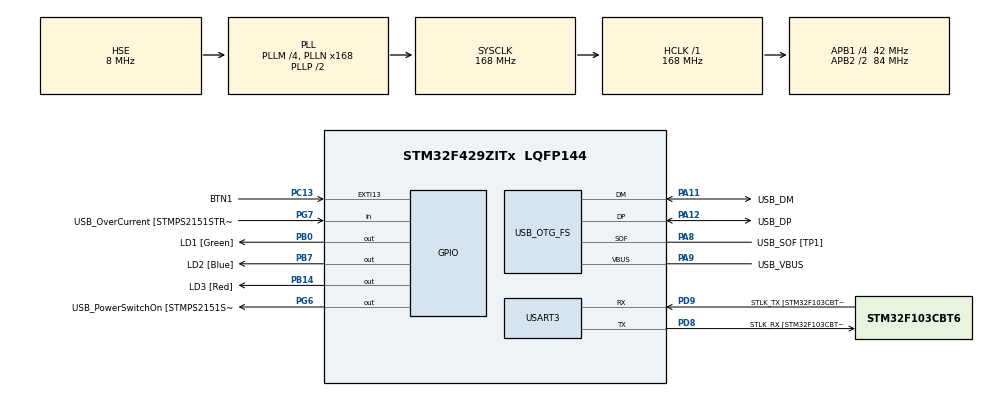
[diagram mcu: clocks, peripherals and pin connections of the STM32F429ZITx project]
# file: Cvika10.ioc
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Mcu.Family=STM32F4
Mcu.Name=STM32F429ZITx
Mcu.Package=LQFP144
NVIC.OTG_FS_IRQn=true\:0\:0\:false\:false\:true\:false\:true\:true
NVIC.PriorityGroup=NVIC_PRIORITYGROUP_4
PA1.GPIO_Label=RMII_REF_CLK [LAN8742A-CZ-TR_REFCLK0]
PA1.Signal=ETH_REF_CLK
PA10.GPIO_Label=USB_ID
PA10.Signal=USB_OTG_FS_ID
PA11.GPIO_Label=USB_DM
PA11.Mode=Device_Only
PA11.Signal=USB_OTG_FS_DM
PA12.GPIO_Label=USB_DP
PA12.Mode=Device_Only
PA12.Signal=USB_OTG_FS_DP
PA13.GPIO_Label=TMS
PA13.Mode=Serial_Wire
PA13.Signal=SYS_JTMS-SWDIO
PA14.GPIO_Label=TCK
PA14.Mode=Serial_Wire
PA14.Signal=SYS_JTCK-SWCLK
PA2.GPIO_Label=RMII_MDIO [LAN8742A-CZ-TR_MDIO]
PA2.Signal=ETH_MDIO
PA7.GPIO_Label=RMII_CRS_DV [LAN8742A-CZ-TR_CRS_DV]
PA7.Signal=ETH_CRS_DV
PA8.GPIO_Label=USB_SOF [TP1]
PA8.Mode=Activate_SOF_FS
PA8.Signal=USB_OTG_FS_SOF
PA9.GPIO_Label=USB_VBUS
PA9.Mode=Activate_VBUS
PA9.Signal=USB_OTG_FS_VBUS
PB0.GPIO_Label=LD1 [Green]
PB0.Signal=GPIO_Output
PB13.GPIO_Label=RMII_TXD1 [LAN8742A-CZ-TR_TXD1]
PB13.Signal=ETH_TXD1
PB14.GPIO_Label=LD3 [Red]
PB14.Signal=GPIO_Output
PB7.GPIO_Label=LD2 [Blue]
PB7.Signal=GPIO_Output
PC1.GPIO_Label=RMII_MDC [LAN8742A-CZ-TR_MDC]
PC1.Signal=ETH_MDC
PC13.GPIO_Label=BTN1
PC13.Signal=GPXTI13
PC14/OSC32_IN.Mode=LSE-External-Oscillator
PC14/OSC32_IN.Signal=RCC_OSC32_IN
PC15/OSC32_OUT.Mode=LSE-External-Oscillator
PC15/OSC32_OUT.Signal=RCC_OSC32_OUT
PC4.GPIO_Label=RMII_RXD0 [LAN8742A-CZ-TR_RXD0]
PC4.Signal=ETH_RXD0
PC5.GPIO_Label=RMII_RXD1 [LAN8742A-CZ-TR_RXD1]
PC5.Signal=ETH_RXD1
PD8.GPIO_Label=STLK_RX [STM32F103CBT6_PA3]
PD8.Mode=Asynchronous
PD8.Signal=USART3_TX
PD9.GPIO_Label=STLK_TX [STM32F103CBT6_PA2]
PD9.Mode=Asynchronous
PD9.Signal=USART3_RX
PG11.GPIO_Label=RMII_TX_EN [LAN8742A-CZ-TR_TXEN]
PG11.Signal=ETH_TX_EN
PG13.GPIO_Label=RMII_TXD0 [LAN8742A-CZ-TR_TXD0]
PG13.Signal=ETH_TXD0
PG6.GPIO_Label=USB_PowerSwitchOn [STMPS2151STR_EN]
PG6.Signal=GPIO_Output
PG7.GPIO_Label=USB_OverCurrent [STMPS2151STR_FAULT]
PG7.Signal=GPIO_Input
PH0/OSC_IN.GPIO_Label=MCO [STM32F103CBT6_PA8]
PH0/OSC_IN.Mode=HSE-External-Clock-Source
PH0/OSC_IN.Signal=RCC_OSC_IN
PH1/OSC_OUT.Mode=HSE-External-Clock-Source
PH1/OSC_OUT.Signal=RCC_OSC_OUT
ProjectManager.HeapSize=0x200
ProjectManager.StackSize=0x400
ProjectManager.TargetToolchain=STM32CubeIDE
RCC.48MHZClocksFreq_Value=48000000
RCC.AHBFreq_Value=168000000
RCC.APB1CLKDivider=RCC_HCLK_DIV4
RCC.APB1Freq_Value=42000000
RCC.APB1TimFreq_Value=84000000
RCC.APB2CLKDivider=RCC_HCLK_DIV2
RCC.APB2Freq_Value=84000000
RCC.APB2TimCLKDivider=2
RCC.APB2TimFreq_Value=168000000
RCC.CortexFreq_Value=168000000
RCC.HCLKFreq_Value=168000000
RCC.HSE_VALUE=8000000
RCC.HSI_VALUE=16000000
RCC.PLLM=4
RCC.PLLMUL=RCC_PLL_MUL9
RCC.PLLN=168
RCC.PLLQ=7
RCC.PRESCALERUSB=RCC_USBCLKSOURCE_PLL_DIV1_5
RCC.SYSCLKFreq_VALUE=168000000
RCC.SYSCLKSource=RCC_SYSCLKSOURCE_PLLCLK
RCC.SYSCLKSourceVirtual=RCC_SYSCLKSOURCE_PLLCLK
RCC.USBFreq_Value=48000000
RCC.VCOOutputFreq_Value=336000000
USART3.VirtualMode=VM_ASYNC
USB_DEVICE.CLASS_NAME_FS=HID
USB_DEVICE.VirtualMode-HID_FS=Hid
USB_DEVICE.VirtualModeFS=Hid_FS
USB_OTG_FS.VirtualMode=Device_Only
VP_USB_DEVICE_VS_USB_DEVICE_HID_FS.Mode=HID_FS
board=NUCLEO-F429ZI

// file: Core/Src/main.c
/* USER CODE BEGIN Header */
/**
  ******************************************************************************
  * @file           : main.c
  * @brief          : Main program body
  ******************************************************************************
  * @attention
  *
  * Copyright (c) 2024 STMicroelectronics.
  * All rights reserved.
  *
  * This software is licensed under terms that can be found in the LICENSE file
  * in the root directory of this software component.
  * If no LICENSE file comes with this software, it is provided AS-IS.
  *
  ******************************************************************************
  */
/* USER CODE END Header */
#include "main.h"
#include "usb_device.h"

/* USER CODE BEGIN Includes */
#include "usbd_hid.h"
#include <math.h>
/* USER CODE END Includes */

/* USER CODE BEGIN PD */
#define BTN_PRESSED 1
#define BTN_RELEASED 0
/* USER CODE END PD */

UART_HandleTypeDef huart3;

/* USER CODE BEGIN PV */
extern USBD_HandleTypeDef hUsbDeviceFS;
/* USER CODE END PV */

void SystemClock_Config(void);
static void MX_GPIO_Init(void);
static void MX_USART3_UART_Init(void);

/* USER CODE BEGIN 0 */
void step(int x,  int y, uint8_t btn)
{
	uint8_t buff[4];
	buff[0] = 0x00 | btn; // press the left button
	buff[1] = (int8_t)(x); // shift X +10
	buff[2] = (int8_t)(y); // shift Y -3
	buff[3] = 0; // no scroll
	USBD_HID_SendReport(&hUsbDeviceFS, buff, sizeof(buff));
	HAL_Delay(USBD_HID_GetPollingInterval(&hUsbDeviceFS));

}

void draw_circle(float radius, int px, int py){
	int x =0, y=0;

	step(px,py,0);

	for(int i=0;i<=360;i++){
		x=round(radius*cos(i*(M_PI/180)));
		y=round(radius*sin(i*(M_PI/180)));
		step((int)x, (int)y, 1);
	}
	step(0,0,0);
}

void half_draw_circle(float radius, int px, int py){
	int x =0, y=0;

	step(px,py,0);

	for(int i=-270;i<=-90;i++){
		x=round(radius*cos(i*(M_PI/180)));
		y=round(radius*sin(i*(M_PI/180)));
		step((int)x, (int)y, 1);
	}
	step(0,0,0);
}

/* USER CODE END 0 */

int main(void)
{

  /* MCU Configuration--------------------------------------------------------*/

  /* Reset of all peripherals, Initializes the Flash interface and the Systick. */
  HAL_Init();

  /* Configure the system clock */
  SystemClock_Config();

  /* Initialize all configured peripherals */
  MX_GPIO_Init();
  MX_USART3_UART_Init();
  MX_USB_DEVICE_Init();

  /* Infinite loop */
  /* USER CODE BEGIN WHILE */
  while (1)
  {
	  if(HAL_GPIO_ReadPin(BTN1_GPIO_Port, BTN1_Pin)){
		  draw_circle(5, 0, 0);

		  step(0,100,BTN_PRESSED);
		  step(0,60,BTN_PRESSED);
		  step(0,0,BTN_RELEASED);
		  step(40,-80,BTN_PRESSED);
		  draw_circle(1, 0, 0);
		  step(0,0,BTN_RELEASED);
		  step(-127,0,BTN_PRESSED);
		  draw_circle(1, 0, 0);
		  step(0,0,BTN_RELEASED);

		  step(110,120,BTN_PRESSED);
		  half_draw_circle(2,0 , 0);
		  step(0,0,BTN_RELEASED);

		  step(0,0,BTN_RELEASED);
	  }
    /* USER CODE END WHILE */

  }
}

void SystemClock_Config(void)
{
  RCC_OscInitTypeDef RCC_OscInitStruct = {0};
  RCC_ClkInitTypeDef RCC_ClkInitStruct = {0};

  /** Configure the main internal regulator output voltage
  */
  __HAL_RCC_PWR_CLK_ENABLE();
  __HAL_PWR_VOLTAGESCALING_CONFIG(PWR_REGULATOR_VOLTAGE_SCALE1);

  /** Initializes the RCC Oscillators according to the specified parameters
  * in the RCC_OscInitTypeDef structure.
  */
  RCC_OscInitStruct.OscillatorType = RCC_OSCILLATORTYPE_HSE;
  RCC_OscInitStruct.HSEState = RCC_HSE_BYPASS;
  RCC_OscInitStruct.PLL.PLLState = RCC_PLL_ON;
  RCC_OscInitStruct.PLL.PLLSource = RCC_PLLSOURCE_HSE;
  RCC_OscInitStruct.PLL.PLLM = 4;
  RCC_OscInitStruct.PLL.PLLN = 168;
  RCC_OscInitStruct.PLL.PLLP = RCC_PLLP_DIV2;
  RCC_OscInitStruct.PLL.PLLQ = 7;
  if (HAL_RCC_OscConfig(&RCC_OscInitStruct) != HAL_OK)
  {
    Error_Handler();
  }

  /** Initializes the CPU, AHB and APB buses clocks
  */
  RCC_ClkInitStruct.ClockType = RCC_CLOCKTYPE_HCLK|RCC_CLOCKTYPE_SYSCLK
                              |RCC_CLOCKTYPE_PCLK1|RCC_CLOCKTYPE_PCLK2;
  RCC_ClkInitStruct.SYSCLKSource = RCC_SYSCLKSOURCE_PLLCLK;
  RCC_ClkInitStruct.AHBCLKDivider = RCC_SYSCLK_DIV1;
  RCC_ClkInitStruct.APB1CLKDivider = RCC_HCLK_DIV4;
  RCC_ClkInitStruct.APB2CLKDivider = RCC_HCLK_DIV2;

  if (HAL_RCC_ClockConfig(&RCC_ClkInitStruct, FLASH_LATENCY_5) != HAL_OK)
  {
    Error_Handler();
  }
}

static void MX_USART3_UART_Init(void)
{

  huart3.Instance = USART3;
  huart3.Init.BaudRate = 115200;
  huart3.Init.WordLength = UART_WORDLENGTH_8B;
  huart3.Init.StopBits = UART_STOPBITS_1;
  huart3.Init.Parity = UART_PARITY_NONE;
  huart3.Init.Mode = UART_MODE_TX_RX;
  huart3.Init.HwFlowCtl = UART_HWCONTROL_NONE;
  huart3.Init.OverSampling = UART_OVERSAMPLING_16;
  if (HAL_UART_Init(&huart3) != HAL_OK)
  {
    Error_Handler();
  }

}

static void MX_GPIO_Init(void)
{
  GPIO_InitTypeDef GPIO_InitStruct = {0};

  /* GPIO Ports Clock Enable */
  __HAL_RCC_GPIOC_CLK_ENABLE();
  __HAL_RCC_GPIOH_CLK_ENABLE();
  __HAL_RCC_GPIOA_CLK_ENABLE();
  __HAL_RCC_GPIOB_CLK_ENABLE();
  __HAL_RCC_GPIOD_CLK_ENABLE();
  __HAL_RCC_GPIOG_CLK_ENABLE();

  /*Configure GPIO pin Output Level */
  HAL_GPIO_WritePin(GPIOB, LD1_Pin|LD3_Pin|LD2_Pin, GPIO_PIN_RESET);

  /*Configure GPIO pin Output Level */
  HAL_GPIO_WritePin(USB_PowerSwitchOn_GPIO_Port, USB_PowerSwitchOn_Pin, GPIO_PIN_RESET);

  /*Configure GPIO pin : BTN1_Pin */
  GPIO_InitStruct.Pin = BTN1_Pin;
  GPIO_InitStruct.Mode = GPIO_MODE_IT_RISING;
  GPIO_InitStruct.Pull = GPIO_NOPULL;
  HAL_GPIO_Init(BTN1_GPIO_Port, &GPIO_InitStruct);

  /*Configure GPIO pins : RMII_MDC_Pin RMII_RXD0_Pin RMII_RXD1_Pin */
  GPIO_InitStruct.Pin = RMII_MDC_Pin|RMII_RXD0_Pin|RMII_RXD1_Pin;
  GPIO_InitStruct.Mode = GPIO_MODE_AF_PP;
  GPIO_InitStruct.Pull = GPIO_NOPULL;
  GPIO_InitStruct.Speed = GPIO_SPEED_FREQ_VERY_HIGH;
  GPIO_InitStruct.Alternate = GPIO_AF11_ETH;
  HAL_GPIO_Init(GPIOC, &GPIO_InitStruct);

  /*Configure GPIO pins : RMII_REF_CLK_Pin RMII_MDIO_Pin RMII_CRS_DV_Pin */
  GPIO_InitStruct.Pin = RMII_REF_CLK_Pin|RMII_MDIO_Pin|RMII_CRS_DV_Pin;
  GPIO_InitStruct.Mode = GPIO_MODE_AF_PP;
  GPIO_InitStruct.Pull = GPIO_NOPULL;
  GPIO_InitStruct.Speed = GPIO_SPEED_FREQ_VERY_HIGH;
  GPIO_InitStruct.Alternate = GPIO_AF11_ETH;
  HAL_GPIO_Init(GPIOA, &GPIO_InitStruct);

  /*Configure GPIO pins : LD1_Pin LD3_Pin LD2_Pin */
  GPIO_InitStruct.Pin = LD1_Pin|LD3_Pin|LD2_Pin;
  GPIO_InitStruct.Mode = GPIO_MODE_OUTPUT_PP;
  GPIO_InitStruct.Pull = GPIO_NOPULL;
  GPIO_InitStruct.Speed = GPIO_SPEED_FREQ_LOW;
  HAL_GPIO_Init(GPIOB, &GPIO_InitStruct);

  /*Configure GPIO pin : RMII_TXD1_Pin */
  GPIO_InitStruct.Pin = RMII_TXD1_Pin;
  GPIO_InitStruct.Mode = GPIO_MODE_AF_PP;
  GPIO_InitStruct.Pull = GPIO_NOPULL;
  GPIO_InitStruct.Speed = GPIO_SPEED_FREQ_VERY_HIGH;
  GPIO_InitStruct.Alternate = GPIO_AF11_ETH;
  HAL_GPIO_Init(RMII_TXD1_GPIO_Port, &GPIO_InitStruct);

  /*Configure GPIO pin : USB_PowerSwitchOn_Pin */
  GPIO_InitStruct.Pin = USB_PowerSwitchOn_Pin;
  GPIO_InitStruct.Mode = GPIO_MODE_OUTPUT_PP;
  GPIO_InitStruct.Pull = GPIO_NOPULL;
  GPIO_InitStruct.Speed = GPIO_SPEED_FREQ_LOW;
  HAL_GPIO_Init(USB_PowerSwitchOn_GPIO_Port, &GPIO_InitStruct);

  /*Configure GPIO pin : USB_OverCurrent_Pin */
  GPIO_InitStruct.Pin = USB_OverCurrent_Pin;
  GPIO_InitStruct.Mode = GPIO_MODE_INPUT;
  GPIO_InitStruct.Pull = GPIO_NOPULL;
  HAL_GPIO_Init(USB_OverCurrent_GPIO_Port, &GPIO_InitStruct);

  /*Configure GPIO pins : RMII_TX_EN_Pin RMII_TXD0_Pin */
  GPIO_InitStruct.Pin = RMII_TX_EN_Pin|RMII_TXD0_Pin;
  GPIO_InitStruct.Mode = GPIO_MODE_AF_PP;
  GPIO_InitStruct.Pull = GPIO_NOPULL;
  GPIO_InitStruct.Speed = GPIO_SPEED_FREQ_VERY_HIGH;
  GPIO_InitStruct.Alternate = GPIO_AF11_ETH;
  HAL_GPIO_Init(GPIOG, &GPIO_InitStruct);

}

void Error_Handler(void)
{
  __disable_irq();
  while (1)
  {
  }
}
